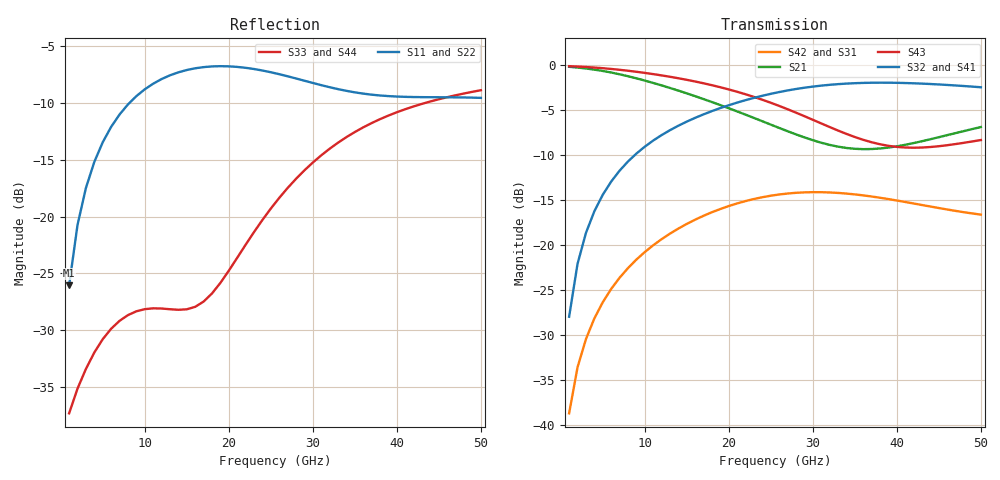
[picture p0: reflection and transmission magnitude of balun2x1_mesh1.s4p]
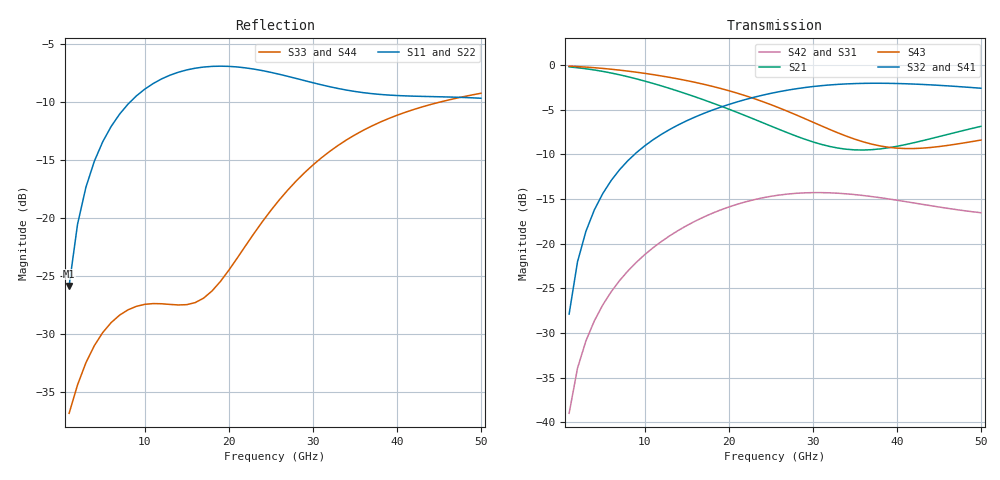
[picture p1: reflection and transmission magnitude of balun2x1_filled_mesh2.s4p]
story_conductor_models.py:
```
#!/usr/bin/env python
"""Plot and numbers for README.md section "Conductor model": surface impedance (the mesh study above) vs. conductors meshed as
volumes: settings['conductor_model'] = 'solve_inside' and 'solve_inside_skin'.

Writes results/plots/story_conductor_models.png (primary Q and |Sdd21| vs. frequency) and prints the numbers quoted
in README.md. Reference: 'solve_inside_skin', 1 um mesh. DOF from the Palace output of each run.
"""
import os
import matplotlib
matplotlib.use("Agg")
import matplotlib.pyplot as plt

import story_plots as S

RUNS = [  # label, Touchstone file, DOF, color, line style
    ("surface impedance, 1 µm", "balun2x1_mesh1.s4p", 1672974, S.BLUE, "-"),
    ("solve_inside, 2 µm", "balun2x1_filled_mesh2.s4p", 1016742, S.ORANGE, "--"),
    ("solve_inside_skin, 2 µm", "balun2x1_skin_mesh2.s4p", 1678800, S.AQUA, "--"),
    ("solve_inside_skin, 1 µm", "balun2x1_skin_mesh1.s4p", 3737648, S.INK, "-"),
]
TABLE = RUNS[-1:] + [("solve_inside_skin, 2 µm", "balun2x1_skin_mesh2.s4p", 1678800, None, None),
                     ("solve_inside_skin, 5 µm", "balun2x1_skin_mesh5.s4p", 598420, None, None),
                     ("solve_inside, 2 µm", "balun2x1_filled_mesh2.s4p", 1016742, None, None),
                     ("surface impedance, 1 µm", "balun2x1_mesh1.s4p", 1672974, None, None),
                     ("surface impedance, 2 µm", "balun2x1_mesh2.s4p", 843390, None, None)]
REFERENCE = "balun2x1_skin_mesh1.s4p"


def plot():
    fig, axes = plt.subplots(1, 2, figsize=(10, 3.9))
    for label, fname, _, color, ls in RUNS:
        ntw = S.load(fname)
        m = S.merits(ntw)
        coil = ntw.f <= S.F_COIL_MAX
        axes[0].plot(ntw.f[coil] / 1e9, m["Qp"][coil], color=color, linestyle=ls, linewidth=2, label=label)
        axes[1].plot(ntw.f / 1e9, m["Sdd21"], color=color, linestyle=ls, linewidth=2, label=label)
    for ax, title in zip(axes, ("Primary Q", "Differential transmission |Sdd21| (dB)")):
        S.style(ax)
        ax.set_title(title, loc="left", fontsize=11, color=S.INK)
        ax.set_xlabel("Frequency (GHz)", color=S.INK2)
    axes[0].set_ylim(bottom=0)
    axes[1].set_xlim(15, 50)
    axes[1].set_ylim(-3.5, -1)
    handles, labels = axes[0].get_legend_handles_labels()
    fig.legend(handles, labels, loc="upper center", ncol=3, frameon=False, fontsize=9)
    fig.tight_layout(rect=(0, 0, 1, 0.84))
    out = os.path.join(S.PLOT_DIR, "story_conductor_models.png")
    fig.savefig(out, dpi=130, facecolor="white")
    plt.close(fig)
    print("wrote", out)


def numbers():
    ref = S.load(REFERENCE)
    r = S.merits(ref)
    c = ref.f <= S.F_COIL_MAX
    qp0, qs0 = r["Qp"][c].max(), r["Qs"][c].max()
    print(f"\nRelative to {REFERENCE}; L, k at {S.L_FREQ / 1e9:.0f} GHz, Q peaks below {S.F_COIL_MAX / 1e9:.0f} GHz")
    print(f"{'model':30s} {'DOF':>10s} {'Lp':>6s} {'k':>6s} {'Qp pk':>6s} {'dQp':>7s} {'Qs pk':>6s} {'dQs':>7s} {'Sdd21 pk':>8s} {'@GHz':>5s}")
    for label, fname, dof, _, _ in TABLE:
        ntw = S.load(fname)
        m = S.merits(ntw)
        c = ntw.f <= S.F_COIL_MAX
        qp, qs = m["Qp"][c].max(), m["Qs"][c].max()
        print(f"{label:30s} {dof:10,d} {S.at(ntw, m['Lp'], S.L_FREQ):6.3f} {S.at(ntw, m['k'], S.L_FREQ):6.3f} "
              f"{qp:6.2f} {100 * (qp / qp0 - 1):+6.1f}% {qs:6.2f} {100 * (qs / qs0 - 1):+6.1f}% "
              f"{m['Sdd21'].max():8.2f} {ntw.f[m['Sdd21'].argmax()] / 1e9:5.1f}")


if __name__ == "__main__":
    plot()
    numbers()
```
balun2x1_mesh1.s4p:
! Created with skrf 2.1.0 (http://scikit-rf.org).
# GHz S DB R 50.0
! Port[1] = P1
! Port[2] = P2
! Port[3] = P3
! Port[4] = P4
!freq dBS11 angS11 dBS12 angS12 dBS13 angS13
! dBS14 angS14
! dBS21 angS21 dBS22 angS22 dBS23 angS23
! dBS24 angS24
! dBS31 angS31 dBS32 angS32 dBS33 angS33
! dBS34 angS34
! dBS41 angS41 dBS42 angS42 dBS43 angS43
! dBS44 angS44
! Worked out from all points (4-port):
!   50 points, 1 GHz to 50 GHz, reference 50 ohm
!   strongest paths, dB at 1 GHz, 13 GHz, 26 GHz, 38 GHz, 50 GHz:
!     S32: -27.9, -7.2, -3.0, -2.0, -2.5
!     S41: -27.9, -7.2, -3.0, -2.0, -2.5
!     S43: -0.1, -1.3, -4.5, -8.8, -8.3
!     S21: -0.2, -2.5, -7.0, -9.3, -6.9
!     S42: -38.7, -18.7, -14.4, -14.7, -16.6
!     S31: -38.7, -18.8, -14.5, -14.9, -16.8
!   lowest |S11| = -26.1 dB at 1 GHz (marker M1), VSWR 1.10, Z = 52 + j4.69 ohm
!   |S11| at or under -10 dB: start of sweep to 8.168 GHz
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1  -26.06 64.8  -0.19 -5.3  -38.68 -108.9  -27.95 84.4
   -0.19 -5.3  -26.06 64.7  -27.95 84.4  -38.67 -109.0
   -38.68 -108.9  -27.95 84.4  -37.33 25.0  -0.12 -2.6
   -27.95 84.4  -38.67 -109.0  -0.12 -2.6  -37.33 25.0
16  -6.94 13.3  -3.45 -72.8  -17.23 135.1  -5.86 34.8
    -3.45 -72.8  -6.96 12.6  -5.86 34.8  -17.17 134.2
    -17.23 135.1  -5.86 34.8  -27.95 -70.6  -1.82 -34.7
    -5.86 34.8  -17.17 134.2  -1.82 -34.7  -27.83 -71.7
50  -9.54 -35.9  -6.88 90.0  -16.77 -7.3  -2.50 -53.4
    -6.88 90.0  -9.88 -36.3  -2.46 -53.9  -16.60 -11.6
    -16.77 -7.3  -2.46 -53.9  -8.87 89.1  -8.32 -30.1
    -2.50 -53.4  -16.60 -11.6  -8.32 -30.1  -8.71 88.6
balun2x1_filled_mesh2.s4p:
! Created with skrf 2.1.0 (http://scikit-rf.org).
# GHz S DB R 50.0
! Port[1] = P1
! Port[2] = P2
! Port[3] = P3
! Port[4] = P4
!freq dBS11 angS11 dBS12 angS12 dBS13 angS13
! dBS14 angS14
! dBS21 angS21 dBS22 angS22 dBS23 angS23
! dBS24 angS24
! dBS31 angS31 dBS32 angS32 dBS33 angS33
! dBS34 angS34
! dBS41 angS41 dBS42 angS42 dBS43 angS43
! dBS44 angS44
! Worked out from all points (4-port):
!   50 points, 1 GHz to 50 GHz, reference 50 ohm
!   strongest paths, dB at 1 GHz, 13 GHz, 26 GHz, 38 GHz, 50 GHz:
!     S32: -27.9, -7.2, -3.0, -2.0, -2.6
!     S41: -27.9, -7.2, -3.0, -2.1, -2.6
!     S43: -0.1, -1.4, -4.8, -9.1, -8.4
!     S21: -0.2, -2.6, -7.2, -9.4, -6.9
!     S42: -39.0, -19.1, -14.6, -14.8, -16.5
!     S31: -39.0, -19.2, -14.7, -15.1, -16.7
!   lowest |S11| = -25.8 dB at 1 GHz (marker M1), VSWR 1.11, Z = 52.2 + j4.73 ohm
!   |S11| at or under -10 dB: start of sweep to 8.217 GHz
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1  -25.84 62.3  -0.21 -5.3  -38.99 -109.1  -27.87 84.6
   -0.21 -5.3  -25.84 62.3  -27.87 84.6  -38.98 -109.1
   -38.99 -109.1  -27.87 84.6  -36.84 24.3  -0.12 -2.6
   -27.87 84.6  -38.98 -109.1  -0.12 -2.6  -36.84 24.3
28  -7.93 -18.7  -7.94 -138.2  -14.54 59.9  -2.68 0.1
    -7.94 -138.2  -8.09 -20.3  -2.66 -0.0  -14.36 58.2
    -14.54 59.9  -2.66 -0.0  -16.80 167.9  -5.57 -52.7
    -2.68 0.1  -14.36 58.2  -5.57 -52.7  -16.59 167.8
50  -9.64 -37.7  -6.86 87.4  -16.71 -9.1  -2.64 -53.7
    -6.86 87.4  -10.00 -38.1  -2.59 -54.3  -16.53 -13.4
    -16.71 -9.1  -2.59 -54.3  -9.21 88.3  -8.40 -28.6
    -2.64 -53.7  -16.53 -13.4  -8.40 -28.6  -9.04 87.7
